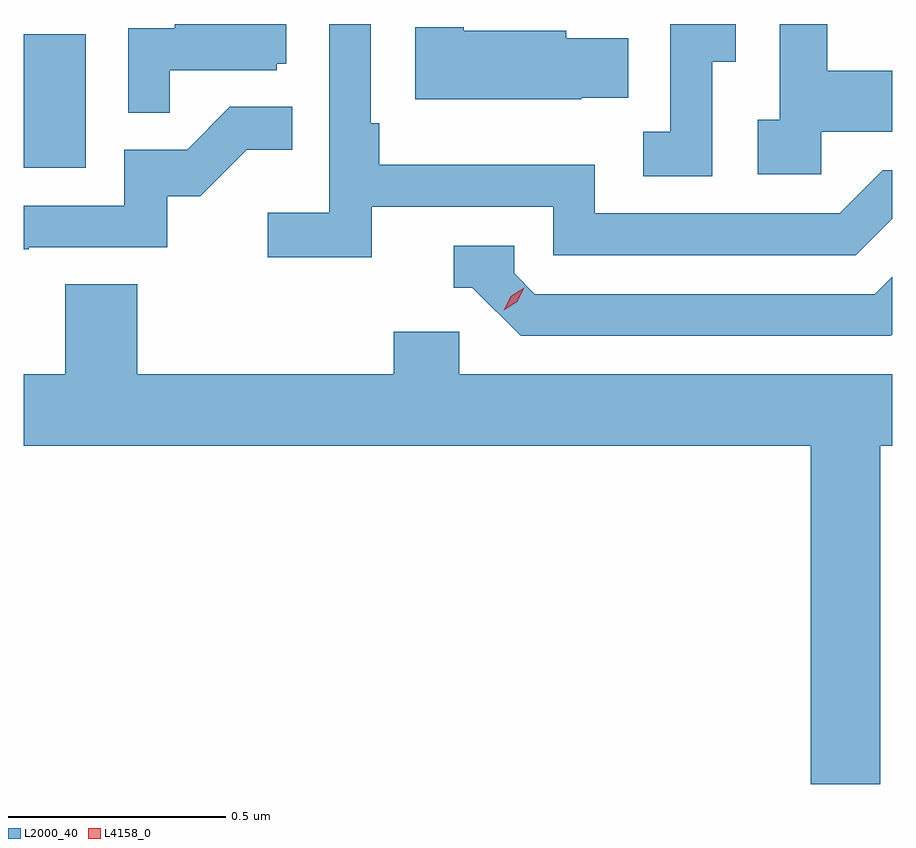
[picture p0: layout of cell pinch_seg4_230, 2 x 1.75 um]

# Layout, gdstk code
import gdstk
lib = gdstk.Library(unit=1e-6, precision=1e-09)
def R(c, l, rs):  # rectangles x0, y0, x1, y1
    for r in rs: c.add(gdstk.rectangle(r[:2], r[2:], *l))
def P(c, l, *ps):  # polygons
    for p in ps: c.add(gdstk.Polygon(p, *l))
L2000_40 = (2000, 40)
L4158_0 = (4158, 0)

pinch_seg4_230 = lib.new_cell('pinch_seg4_230')
R(pinch_seg4_230, L2000_40, [(1012.937,818.772,1013.08,819.079)])
P(pinch_seg4_230, L2000_40, [(1014.522,819.016),(1014.577,819.016),(1014.577,819.103),(1014.426,819.103),(1014.426,818.855),(1014.363,818.855),(1014.363,818.752),(1014.522,818.752)],
  [(1014.774,818.855),(1014.937,818.855),(1014.937,818.995),(1014.787,818.995),(1014.787,819.103),(1014.678,819.103),(1014.678,818.882),(1014.627,818.882),(1014.627,818.757),(1014.774,818.757)],
  [(1013.273,818.997),(1013.52,818.997),(1013.52,819.012),(1013.542,819.012),(1013.542,819.103),(1013.285,819.103),(1013.285,819.093),(1013.178,819.093),(1013.178,818.899),(1013.273,818.899)],
  [(1013.738,818.682),(1014.156,818.682),(1014.156,818.571),(1014.853,818.571),(1014.937,818.655),(1014.937,818.766),(1014.915,818.766),(1014.816,818.667),(1014.252,818.667),(1014.252,818.779),(1013.756,818.779),(1013.756,818.875),(1013.736,818.875),(1013.736,819.103),(1013.64,819.103),(1013.64,818.668),(1013.499,818.668),(1013.499,818.566),(1013.738,818.566)],
  [(1014.221,818.933),(1014.329,818.933),(1014.329,819.07),(1014.186,819.07),(1014.186,819.088),(1013.95,819.088),(1013.95,819.096),(1013.838,819.096),(1013.838,818.93),(1014.221,818.93)],
  [(1012.949,818.589),(1013.268,818.589),(1013.268,818.706),(1013.344,818.706),(1013.451,818.813),(1013.555,818.813),(1013.555,818.912),(1013.411,818.912),(1013.313,818.814),(1013.169,818.814),(1013.169,818.685),(1012.937,818.685),(1012.937,818.584),(1012.949,818.584)],
  [(1014.937,818.388),(1014.937,818.521),(1014.897,818.481),(1014.114,818.481),(1014.066,818.529),(1014.066,818.592),(1013.927,818.592),(1013.927,818.496),(1013.97,818.496),(1014.081,818.385),(1014.934,818.385)],
  [(1014.909,818.132),(1014.937,818.132),(1014.937,818.296),(1013.94,818.296),(1013.94,818.394),(1013.789,818.394),(1013.789,818.296),(1013.198,818.296),(1013.198,818.504),(1013.033,818.504),(1013.033,818.296),(1012.937,818.296),(1012.937,818.132),(1014.749,818.132),(1014.749,817.353),(1014.909,817.353)])
P(pinch_seg4_230, L4158_0, [(1014.042,818.444),(1014.042,818.444),(1014.058,818.476),(1014.089,818.496),(1014.089,818.496),(1014.089,818.496),(1014.073,818.463),(1014.042,818.444)])

lib.write_gds('pinch_seg4_230.gds')
